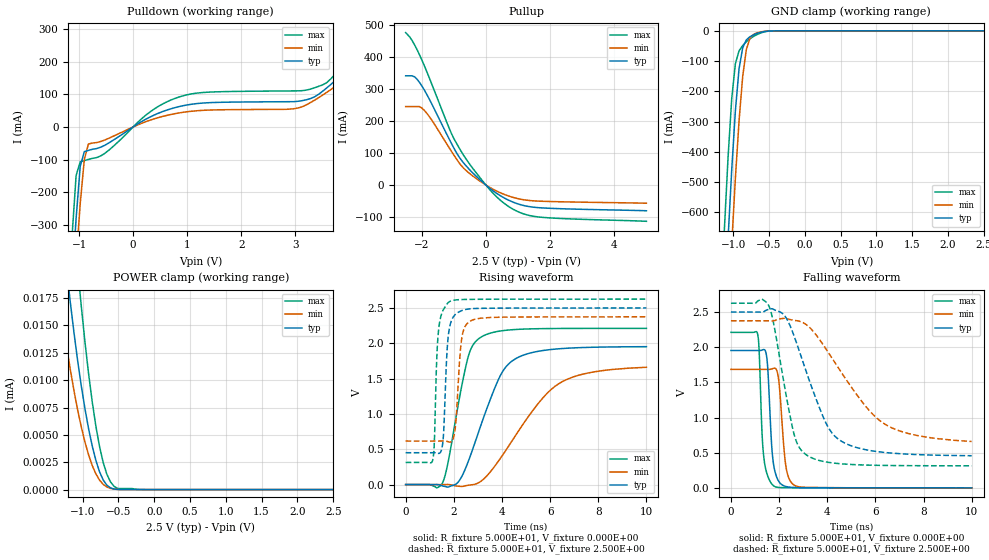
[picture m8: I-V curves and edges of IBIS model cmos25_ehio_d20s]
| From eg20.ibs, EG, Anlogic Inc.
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|   Model cmos25_ehio_d20s
[Model] cmos25_ehio_d20s
Model_type I/O
Enable   Active-Low
Vinl =  7.000E-01
Vinh =  1.700E+00
Vmeas =  1.250E+00
C_comp   4.500E-12   4.200E-12   4.800E-12
[Temperature Range]   2.500E+01   8.500E+01   -4.000E+01
[Voltage Range]   2.500E+00   2.375E+00   2.625E+00
[POWER Clamp Reference]   2.500E+00   2.375E+00   2.625E+00
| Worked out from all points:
|   slope of the pulldown table from 0 to 0.375 V, typ, clamps not added: 10.6 ohm
|   slope of the pullup table from 0 to 0.375 V, typ, clamps not added: 13.1 ohm
|   GND clamp passes 1 mA (typ) near -0.51 V on its own axis
|   rising waveform, R_fixture 5.000E+01, V_fixture 0.000E+00: 20-80 % time 1.29ns typ, 2.13ns min, 733ps max; typ from 0 V to 1.95 V
|   rising waveform, R_fixture 5.000E+01, V_fixture 2.500E+00: 20-80 % time 172ps typ, 209ps min, 153ps max; typ from 0.451 V to 2.5 V
|   falling waveform, R_fixture 5.000E+01, V_fixture 0.000E+00: 20-80 % time 195ps typ, 234ps min, 170ps max; typ from 1.95 V to 0 V
|   falling waveform, R_fixture 5.000E+01, V_fixture 2.500E+00: 20-80 % time 1.34ns typ, 2.19ns min, 745ps max; typ from 2.5 V to 0.457 V
[Pulldown]
|Voltage   I(typ)   I(min)   I(max)
-2.5V     -3.929A    -3.724A    -4.178A
-1.132V   -475.1mA   -586.7mA   -338.2mA
-1.056V   -280.9mA   -412.1mA   -149.3mA
-980mV    -120.7mA   -235.4mA   -106.9mA
-904mV    -75.79mA   -99.71mA   -103.2mA
-828mV    -71.9mA    -52.18mA   -99.58mA
616mV     51.28mA    35.14mA    76.38mA
3.276V    86.73mA    74.2mA     115.7mA
3.656V    130.1mA    114.4mA    147.3mA
4.416V    247.5mA    206mA      300.4mA
4.796V    308.3mA    253mA      380.3mA
5V        339.7mA    277.3mA    421.3mA
[Pullup]
|Voltage   I(typ)   I(min)   I(max)
-2.5V     341.7mA    245.7mA    477.1mA
-2.22V    338.5mA    245.7mA    438.3mA
-2.068V   321mA      245.5mA    407.4mA
-1.916V   296.9mA    233.3mA    372.8mA
-1.156V   146.4mA    118.5mA    180.7mA
-852mV    90.58mA    72.17mA    119.5mA
-548mV    52.38mA    39.47mA    71.38mA
-92mV     8.144mA    5.952mA    11.53mA
516mV     -37.31mA   -27.02mA   -52.94mA
1.048V    -60.55mA   -43.59mA   -85.43mA
1.58V     -70.23mA   -49.98mA   -99.09mA
5V        -80.43mA   -56.84mA   -113.4mA
[GND_clamp]
|Voltage   I(typ)   I(min)   I(max)
-2.5V     -8.418A    -8.418A    -8.417A
-1.123V   -930.3mA   -1.179A    -654.3mA
-1.072V   -686.5mA   -937.5mA   -418.3mA
-1.021V   -460.4mA   -705.5mA   -224.3mA
-970mV    -265mA     -489.1mA   -108.9mA
-919mV    -126.3mA   -299.2mA   -66.46mA
-868mV    -56.3mA    -151.3mA   -48.52mA
-817mV    -30.13mA   -62.02mA   -36.27mA
-766mV    -19.43mA   -24.49mA   -26.43mA
-715mV    -12.99mA   -11.58mA   -18.38mA
-460mV    -252.4uA   -232.3uA   -246.2uA
2.5V      0A         0A         0A
[POWER_clamp]
|Voltage   I(typ)   I(min)   I(max)
-2.5V     148.8uA    110.4uA    210.4uA
-1.325V   26.65uA    17.72uA    42.46uA
-1.223V   20.08uA    13.05uA    32.78uA
-1.172V   17.1uA     10.96uA    28.34uA
-1.07V    11.79uA    7.288uA    20.3uA
-1.019V   9.479uA    5.728uA    16.75uA
-917mV    5.566uA    3.179uA    10.59uA
-866mV    3.984uA    2.205uA    8.014uA
-764mV    1.629uA    869nA      3.939uA
-662mV    406.6nA    239.7nA    1.408uA
-509mV    16.06nA    16.71nA    97.23nA
2.5V      0A         0A         0A
[Ramp]
| variable   typ   min   max
dV/dt_r   1.171E+00/1.299E-09   9.965E-01/2.141E-09   1.327E+00/7.403E-10
dV/dt_f   1.226E+00/1.373E-09   1.029E+00/2.218E-09   1.387E+00/7.720E-10
R_load = 5.000E+01
[Rising Waveform]
R_fixture= 5.000E+01
V_fixture= 0.000E+00
V_fixture_min= 0.000E+00
V_fixture_max= 0.000E+00
|time   V(typ)   V(min)   V(max)
0s        0V         0V         0V
1.542ns   -18.88mV   18.51uV    31.62mV
2.138ns   20.14mV    -20.86mV   1.046V
2.572ns   301.8mV    -10.59mV   1.777V
3.111ns   826.3mV    43.45mV    2.083V
3.998ns   1.583V     403.2mV    2.177V
4.738ns   1.812V     784.8mV    2.198V
5.742ns   1.9V       1.243V     2.208V
6.631ns   1.928V     1.478V     2.21V
10ns      1.952V     1.661V     2.211V
[Rising Waveform]
R_fixture= 5.000E+01
V_fixture= 2.500E+00
V_fixture_min= 2.375E+00
V_fixture_max= 2.625E+00
|time   V(typ)   V(min)   V(max)
0s        451.3mV    616.4mV    313.5mV
1.131ns   451.5mV    616.4mV    357.8mV
1.192ns   451.6mV    616.4mV    602.5mV
1.318ns   445.3mV    616.4mV    1.967V
1.484ns   485.4mV    616.7mV    2.407V
1.82ns    2.218V     601.6mV    2.59V
2.061ns   2.407V     801.7mV    2.613V
2.347ns   2.464V     2.104V     2.619V
2.637ns   2.486V     2.304V     2.621V
10ns      2.5V       2.375V     2.625V
[Falling Waveform]
R_fixture= 5.000E+01
V_fixture= 0.000E+00
V_fixture_min= 0.000E+00
V_fixture_max= 0.000E+00
|time   V(typ)   V(min)   V(max)
0s        1.953V     1.685V     2.211V
1.096ns   1.953V     1.685V     2.203V
1.165ns   1.953V     1.685V     1.992V
1.356ns   1.967V     1.685V     461.9mV
1.508ns   1.792V     1.684V     188.8mV
1.786ns   300.1mV    1.702V     25.49mV
1.982ns   94.64mV    1.536V     6.052mV
2.292ns   18.72mV    287.8mV    2.321mV
2.633ns   5.206mV    37.41mV    1.512mV
10ns      40.58uV    177.2uV    3.587uV
[Falling Waveform]
R_fixture= 5.000E+01
V_fixture= 2.500E+00
V_fixture_min= 2.375E+00
V_fixture_max= 2.625E+00
|time   V(typ)   V(min)   V(max)
0s        2.5V       2.375V     2.625V
1.576ns   2.538V     2.375V     2.587V
2.166ns   2.472V     2.409V     1.563V
2.606ns   2.174V     2.383V     784.3mV
3.126ns   1.655V     2.322V     470.2mV
4.027ns   869.2mV    1.934V     364mV
4.727ns   636.6mV    1.569V     338.1mV
5.751ns   532.7mV    1.097V     322.9mV
6.641ns   495.3mV    859.7mV    317.8mV
10ns      456.8mV    659.3mV    313.7mV
